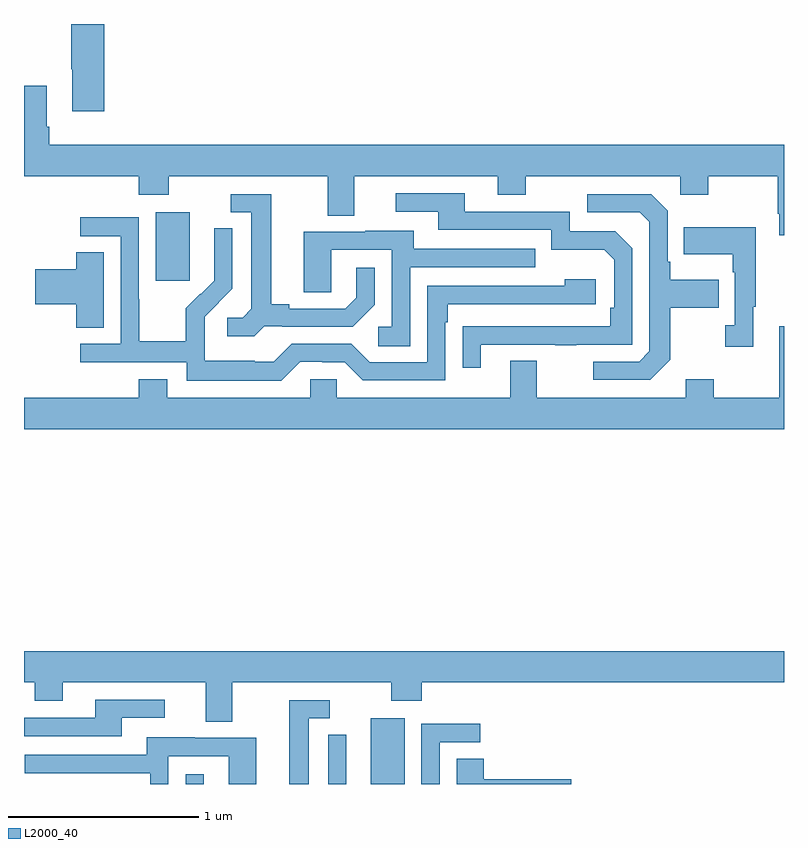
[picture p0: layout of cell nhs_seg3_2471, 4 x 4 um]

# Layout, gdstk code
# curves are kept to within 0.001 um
import gdstk
lib = gdstk.Library(unit=1e-6, precision=1e-09)
def R(c, l, rs):  # rectangles x0, y0, x1, y1
    for r in rs: c.add(gdstk.rectangle(r[:2], r[2:], *l))
def P(c, l, *ps):  # polygons
    for p in ps: c.add(gdstk.Polygon(p, *l))
L2000_40 = (2000, 40)

nhs_seg3_2471 = lib.new_cell('nhs_seg3_2471')
R(nhs_seg3_2471, L2000_40, [(239.85,680.4,239.947,680.452), (240.824,680.4,241.003,680.746), (239.693,683.049,239.872,683.41)])
P(nhs_seg3_2471, L2000_40, [(239.423,684.4),(239.248,684.4),(239.248,684.163),(239.255,684.163),(239.255,683.94),(239.423,683.94)],
  [(243,683.764),(239.132,683.764),(239.132,683.86),(239.119,683.86),(239.119,684.076),(239,684.076),(239,683.6),(239.603,683.6),(239.603,683.501),(239.763,683.501),(239.763,683.6),(240.599,683.6),(240.599,683.392),(240.739,683.392),(240.739,683.6),(241.493,683.6),(241.493,683.501),(241.641,683.501),(241.641,683.6),(242.454,683.6),(242.454,683.501),(242.601,683.501),(242.601,683.6),(242.968,683.6),(242.968,683.401),(242.975,683.401),(242.975,683.289),(243,683.289)],
  [(241.405,682.713),(241.795,682.713),(241.795,682.708),(241.907,682.708),(241.907,682.713),(242.202,682.713),(242.202,683.22),(242.112,683.31),(241.872,683.31),(241.872,683.412),(241.321,683.412),(241.321,683.508),(240.957,683.508),(240.957,683.412),(241.181,683.412),(241.181,683.316),(241.776,683.316),(241.776,683.213),(242.053,683.213),(242.106,683.16),(242.106,682.906),(242.086,682.906),(242.086,682.809),(241.309,682.808),(241.309,682.59),(241.405,682.59)],
  [(242.401,682.633),(242.401,682.906),(242.657,682.906),(242.657,683.053),(242.401,683.053),(242.401,683.149),(242.388,683.149),(242.388,683.418),(242.301,683.505),(241.965,683.505),(241.965,683.409),(242.241,683.409),(242.292,683.358),(242.292,682.677),(242.238,682.623),(241.995,682.623),(241.995,682.527),(242.295,682.527)],
  [(240.264,682.809),(240.358,682.809),(240.358,682.806),(240.73,682.806),(240.846,682.922),(240.846,683.116),(240.749,683.116),(240.749,682.959),(240.692,682.902),(240.397,682.902),(240.397,682.925),(240.301,682.925),(240.301,683.505),(240.087,683.505),(240.087,683.409),(240.197,683.409),(240.197,682.901),(240.15,682.854),(240.069,682.854),(240.069,682.757),(240.212,682.757)],
  [(240.453,682.623),(240.569,682.623),(240.569,682.62),(240.687,682.62),(240.783,682.524),(241.218,682.524),(241.218,682.829),(241.231,682.829),(241.231,682.926),(242.008,682.926),(242.008,683.056),(241.847,683.056),(241.847,683.022),(241.122,683.022),(241.122,682.62),(240.819,682.62),(240.723,682.716),(240.408,682.716),(240.315,682.623),(240.215,682.623),(240.215,682.627),(239.952,682.627),(239.952,682.761),(239.95,682.761),(239.95,682.858),(240.096,683.006),(240.096,683.324),(240,683.324),(240,683.17),(240.002,683.17),(240.002,683.048),(239.931,682.977),(239.928,682.98),(239.851,682.903),(239.851,682.729),(239.607,682.729),(239.607,682.952),(239.604,682.952),(239.604,683.382),(239.295,683.382),(239.295,683.283),(239.508,683.283),(239.508,682.716),(239.295,682.716),(239.295,682.62),(239.856,682.62),(239.856,682.523),(240.353,682.523)],
  [(242.839,682.913),(242.851,682.913),(242.851,683.329),(242.473,683.329),(242.473,683.189),(242.73,683.189),(242.73,683.093),(242.742,683.093),(242.742,682.814),(242.691,682.814),(242.691,682.701),(242.839,682.701)],
  [(241.032,683.121),(241.691,683.121),(241.691,683.217),(241.051,683.217),(241.051,683.311),(240.797,683.311),(240.797,683.307),(240.473,683.307),(240.473,682.987),(240.618,682.987),(240.618,683.211),(240.936,683.211),(240.936,682.806),(240.864,682.806),(240.864,682.705),(241.032,682.705)],
  [(239.419,683.198),(239.276,683.198),(239.276,683.108),(239.058,683.108),(239.058,682.925),(239.276,682.925),(239.276,682.801),(239.419,682.801)],
  [(243,682.81),(242.975,682.81),(242.975,682.432),(242.631,682.432),(242.631,682.531),(242.483,682.531),(242.483,682.432),(241.699,682.432),(241.699,682.627),(241.559,682.627),(241.559,682.432),(240.645,682.432),(240.645,682.53),(240.507,682.53),(240.507,682.432),(239.755,682.432),(239.755,682.531),(239.603,682.531),(239.603,682.432),(239,682.432),(239,682.268),(243,682.268)],
  [(240.097,680.936),(240.934,680.936),(240.934,680.837),(241.094,680.837),(241.094,680.936),(243,680.936),(243,681.1),(239,681.1),(239,680.936),(239.056,680.936),(239.056,680.837),(239.203,680.837),(239.203,680.936),(239.957,680.936),(239.957,680.728),(240.097,680.728)],
  [(239.515,680.748),(239.74,680.748),(239.74,680.844),(239.375,680.844),(239.375,680.748),(239,680.748),(239,680.652),(239.515,680.652)],
  [(240.499,680.745),(240.61,680.745),(240.61,680.841),(240.395,680.841),(240.395,680.4),(240.499,680.4)],
  [(241.188,680.619),(241.402,680.619),(241.402,680.718),(241.092,680.718),(241.092,680.4),(241.188,680.4)],
  [(240.695,680.506),(240.696,680.506),(240.696,680.66),(240.6,680.66),(240.6,680.4),(240.695,680.4)],
  [(239.76,680.547),(240.078,680.547),(240.078,680.4),(240.223,680.4),(240.223,680.643),(239.899,680.643),(239.899,680.647),(239.645,680.647),(239.645,680.553),(239.005,680.553),(239.005,680.457),(239.664,680.457),(239.664,680.4),(239.76,680.4)],
  [(241.879,680.426),(241.421,680.426),(241.421,680.534),(241.277,680.534),(241.277,680.4),(241.879,680.4)])

lib.write_gds('nhs_seg3_2471.gds')
